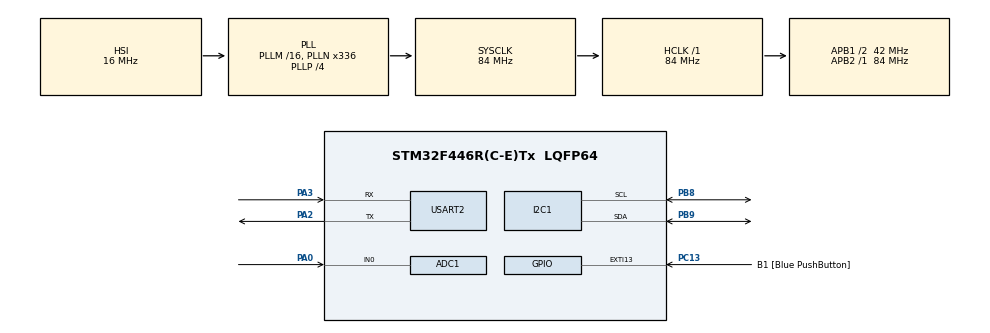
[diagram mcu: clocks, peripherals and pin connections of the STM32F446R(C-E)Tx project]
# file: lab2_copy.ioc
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ADC1.Channel-1\#ChannelRegularConversion=ADC_CHANNEL_0
ADC1.NbrOfConversionFlag=1
ADC1.Rank-1\#ChannelRegularConversion=1
ADC1.SamplingTime-1\#ChannelRegularConversion=ADC_SAMPLETIME_3CYCLES
ADC1.master=1
FREERTOS.Tasks01=Task1,24,128,StartTask1,Default,NULL,Dynamic,NULL,NULL;Task2,40,128,StartTask2,Default,NULL,Dynamic,NULL,NULL
FREERTOS.configUSE_NEWLIB_REENTRANT=1
I2C1.I2C_Mode=I2C_Fast
Mcu.Family=STM32F4
Mcu.Name=STM32F446R(C-E)Tx
Mcu.Package=LQFP64
NVIC.PriorityGroup=NVIC_PRIORITYGROUP_4
NVIC.TIM5_IRQn=true\:15\:0\:false\:false\:true\:false\:false\:true\:true
NVIC.TimeBase=TIM5_IRQn
NVIC.TimeBaseIP=TIM5
PA0-WKUP.Signal=ADCx_IN0
PA13.Signal=SYS_JTMS-SWDIO
PA14.Signal=SYS_JTCK-SWCLK
PA2.Mode=Asynchronous
PA2.Signal=USART2_TX
PA3.Mode=Asynchronous
PA3.Signal=USART2_RX
PB3.Signal=SYS_JTDO-SWO
PB8.Mode=I2C
PB8.Signal=I2C1_SCL
PB9.Mode=I2C
PB9.Signal=I2C1_SDA
PC13.GPIO_Label=B1 [Blue PushButton]
PC13.GPIO_ModeDefaultEXTI=GPIO_MODE_IT_FALLING
PC13.Signal=GPXTI13
PC14-OSC32_IN.Mode=LSE-External-Oscillator
PC14-OSC32_IN.Signal=RCC_OSC32_IN
PC15-OSC32_OUT.Mode=LSE-External-Oscillator
PC15-OSC32_OUT.Signal=RCC_OSC32_OUT
PH0-OSC_IN.Mode=HSE-External-Clock-Source
PH0-OSC_IN.Signal=RCC_OSC_IN
PH1-OSC_OUT.Mode=HSE-External-Clock-Source
PH1-OSC_OUT.Signal=RCC_OSC_OUT
ProjectManager.HeapSize=0x200
ProjectManager.StackSize=0x400
ProjectManager.TargetToolchain=STM32CubeIDE
RCC.48MHZClocksFreq_Value=84000000
RCC.AHBFreq_Value=84000000
RCC.APB1CLKDivider=RCC_HCLK_DIV2
RCC.APB1Freq_Value=42000000
RCC.APB1TimFreq_Value=84000000
RCC.APB2Freq_Value=84000000
RCC.APB2TimFreq_Value=84000000
RCC.CortexFreq_Value=84000000
RCC.FLatency-AdvancedSettings=FLASH_LATENCY_2
RCC.HCLKFreq_Value=84000000
RCC.HSE_VALUE=8000000
RCC.HSI_VALUE=16000000
RCC.PLLN=336
RCC.PLLP=RCC_PLLP_DIV4
RCC.SYSCLKFreq_VALUE=84000000
RCC.SYSCLKSource=RCC_SYSCLKSOURCE_PLLCLK
RCC.USBFreq_Value=168000000
RCC.VCOOutputFreq_Value=336000000
SH.ADCx_IN0.0=ADC1_IN0,IN0
USART2.VirtualMode=VM_ASYNC
VP_FREERTOS_VS_CMSIS_V2.Mode=CMSIS_V2
VP_SYS_VS_tim5.Mode=TIM5
board=NUCLEO-F446RE

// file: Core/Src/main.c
/* USER CODE BEGIN Header */
/**
 ******************************************************************************
 * @file           : main.c
 * @brief          : Main program body
 ******************************************************************************
 * @attention
 *
 * Copyright (c) 2025 STMicroelectronics.
 * All rights reserved.
 *
 * This software is licensed under terms that can be found in the LICENSE file
 * in the root directory of this software component.
 * If no LICENSE file comes with this software, it is provided AS-IS.
 *
 ******************************************************************************
 */
/* USER CODE END Header */
#include "main.h"
#include "cmsis_os.h"

/* USER CODE BEGIN Includes */
#include "stdio.h"
#include "string.h"
#include "fonts.h"
#include "ssd1306.h"
/* USER CODE END Includes */

ADC_HandleTypeDef hadc1;

I2C_HandleTypeDef hi2c1;

UART_HandleTypeDef huart2;

/* Definitions for Task1 */
osThreadId_t Task1Handle;
const osThreadAttr_t Task1_attributes = {
  .name = "Task1",
  .stack_size = 128 * 4,
  .priority = (osPriority_t) osPriorityNormal,
};
/* Definitions for Task2 */
osThreadId_t Task2Handle;
const osThreadAttr_t Task2_attributes = {
  .name = "Task2",
  .stack_size = 128 * 4,
  .priority = (osPriority_t) osPriorityHigh,
};
/* USER CODE BEGIN PV */

float voltage = 1.2;

/* USER CODE END PV */

void SystemClock_Config(void);
static void MX_GPIO_Init(void);
static void MX_ADC1_Init(void);
static void MX_USART2_UART_Init(void);
static void MX_I2C1_Init(void);
void StartTask1(void *argument);
void StartTask2(void *argument);

/* USER CODE BEGIN 0 */

int uart2_write(int ch) {
	/*Make sure the transmit data register is empty*/
	while (!(USART2->SR & USART_SR_TXE)) {
	}

	/*Write to transmit data register*/
	USART2->DR = (ch & 0xFF);
	return ch;
}

int __io_putchar(int ch) {
	uart2_write(ch);
	return ch;
}

/* USER CODE END 0 */

int main(void)
{

  /* USER CODE BEGIN 1 */
	char msg[100];
  /* USER CODE END 1 */

  /* MCU Configuration--------------------------------------------------------*/

  /* Reset of all peripherals, Initializes the Flash interface and the Systick. */
  HAL_Init();

  /* Configure the system clock */
  SystemClock_Config();

  /* Initialize all configured peripherals */
  MX_GPIO_Init();
  MX_ADC1_Init();
  MX_USART2_UART_Init();
  MX_I2C1_Init();
  /* USER CODE BEGIN 2 */

	HAL_ADC_Start(&hadc1);

  /* USER CODE END 2 */

  /* Init scheduler */
  osKernelInitialize();

  /* Create the thread(s) */
  /* creation of Task1 */
  Task1Handle = osThreadNew(StartTask1, NULL, &Task1_attributes);

  /* creation of Task2 */
  Task2Handle = osThreadNew(StartTask2, NULL, &Task2_attributes);

  /* Start scheduler */
  osKernelStart();

  /* We should never get here as control is now taken by the scheduler */

  /* Infinite loop */
	while (1) {

	}
}

void SystemClock_Config(void)
{
  RCC_OscInitTypeDef RCC_OscInitStruct = {0};
  RCC_ClkInitTypeDef RCC_ClkInitStruct = {0};

  /** Configure the main internal regulator output voltage
  */
  __HAL_RCC_PWR_CLK_ENABLE();
  __HAL_PWR_VOLTAGESCALING_CONFIG(PWR_REGULATOR_VOLTAGE_SCALE3);

  /** Initializes the RCC Oscillators according to the specified parameters
  * in the RCC_OscInitTypeDef structure.
  */
  RCC_OscInitStruct.OscillatorType = RCC_OSCILLATORTYPE_HSI;
  RCC_OscInitStruct.HSIState = RCC_HSI_ON;
  RCC_OscInitStruct.HSICalibrationValue = RCC_HSICALIBRATION_DEFAULT;
  RCC_OscInitStruct.PLL.PLLState = RCC_PLL_ON;
  RCC_OscInitStruct.PLL.PLLSource = RCC_PLLSOURCE_HSI;
  RCC_OscInitStruct.PLL.PLLM = 16;
  RCC_OscInitStruct.PLL.PLLN = 336;
  RCC_OscInitStruct.PLL.PLLP = RCC_PLLP_DIV4;
  RCC_OscInitStruct.PLL.PLLQ = 2;
  RCC_OscInitStruct.PLL.PLLR = 2;
  if (HAL_RCC_OscConfig(&RCC_OscInitStruct) != HAL_OK)
  {
    Error_Handler();
  }

  /** Initializes the CPU, AHB and APB buses clocks
  */
  RCC_ClkInitStruct.ClockType = RCC_CLOCKTYPE_HCLK|RCC_CLOCKTYPE_SYSCLK
                              |RCC_CLOCKTYPE_PCLK1|RCC_CLOCKTYPE_PCLK2;
  RCC_ClkInitStruct.SYSCLKSource = RCC_SYSCLKSOURCE_PLLCLK;
  RCC_ClkInitStruct.AHBCLKDivider = RCC_SYSCLK_DIV1;
  RCC_ClkInitStruct.APB1CLKDivider = RCC_HCLK_DIV2;
  RCC_ClkInitStruct.APB2CLKDivider = RCC_HCLK_DIV1;

  if (HAL_RCC_ClockConfig(&RCC_ClkInitStruct, FLASH_LATENCY_2) != HAL_OK)
  {
    Error_Handler();
  }
}

static void MX_ADC1_Init(void)
{

  ADC_ChannelConfTypeDef sConfig = {0};

  /** Configure the global features of the ADC (Clock, Resolution, Data Alignment and number of conversion)
  */
  hadc1.Instance = ADC1;
  hadc1.Init.ClockPrescaler = ADC_CLOCK_SYNC_PCLK_DIV4;
  hadc1.Init.Resolution = ADC_RESOLUTION_12B;
  hadc1.Init.ScanConvMode = DISABLE;
  hadc1.Init.ContinuousConvMode = DISABLE;
  hadc1.Init.DiscontinuousConvMode = DISABLE;
  hadc1.Init.ExternalTrigConvEdge = ADC_EXTERNALTRIGCONVEDGE_NONE;
  hadc1.Init.ExternalTrigConv = ADC_SOFTWARE_START;
  hadc1.Init.DataAlign = ADC_DATAALIGN_RIGHT;
  hadc1.Init.NbrOfConversion = 1;
  hadc1.Init.DMAContinuousRequests = DISABLE;
  hadc1.Init.EOCSelection = ADC_EOC_SINGLE_CONV;
  if (HAL_ADC_Init(&hadc1) != HAL_OK)
  {
    Error_Handler();
  }

  /** Configure for the selected ADC regular channel its corresponding rank in the sequencer and its sample time.
  */
  sConfig.Channel = ADC_CHANNEL_0;
  sConfig.Rank = 1;
  sConfig.SamplingTime = ADC_SAMPLETIME_3CYCLES;
  if (HAL_ADC_ConfigChannel(&hadc1, &sConfig) != HAL_OK)
  {
    Error_Handler();
  }

}

static void MX_I2C1_Init(void)
{

  hi2c1.Instance = I2C1;
  hi2c1.Init.ClockSpeed = 400000;
  hi2c1.Init.DutyCycle = I2C_DUTYCYCLE_2;
  hi2c1.Init.OwnAddress1 = 0;
  hi2c1.Init.AddressingMode = I2C_ADDRESSINGMODE_7BIT;
  hi2c1.Init.DualAddressMode = I2C_DUALADDRESS_DISABLE;
  hi2c1.Init.OwnAddress2 = 0;
  hi2c1.Init.GeneralCallMode = I2C_GENERALCALL_DISABLE;
  hi2c1.Init.NoStretchMode = I2C_NOSTRETCH_DISABLE;
  if (HAL_I2C_Init(&hi2c1) != HAL_OK)
  {
    Error_Handler();
  }

}

static void MX_USART2_UART_Init(void)
{

  huart2.Instance = USART2;
  huart2.Init.BaudRate = 115200;
  huart2.Init.WordLength = UART_WORDLENGTH_8B;
  huart2.Init.StopBits = UART_STOPBITS_1;
  huart2.Init.Parity = UART_PARITY_NONE;
  huart2.Init.Mode = UART_MODE_TX_RX;
  huart2.Init.HwFlowCtl = UART_HWCONTROL_NONE;
  huart2.Init.OverSampling = UART_OVERSAMPLING_16;
  if (HAL_UART_Init(&huart2) != HAL_OK)
  {
    Error_Handler();
  }

}

static void MX_GPIO_Init(void)
{
  GPIO_InitTypeDef GPIO_InitStruct = {0};

  /* GPIO Ports Clock Enable */
  __HAL_RCC_GPIOC_CLK_ENABLE();
  __HAL_RCC_GPIOH_CLK_ENABLE();
  __HAL_RCC_GPIOA_CLK_ENABLE();
  __HAL_RCC_GPIOB_CLK_ENABLE();

  /*Configure GPIO pin : B1_Pin */
  GPIO_InitStruct.Pin = B1_Pin;
  GPIO_InitStruct.Mode = GPIO_MODE_IT_FALLING;
  GPIO_InitStruct.Pull = GPIO_NOPULL;
  HAL_GPIO_Init(B1_GPIO_Port, &GPIO_InitStruct);

}

void StartTask1(void *argument)
{
  /* USER CODE BEGIN 5 */

	// Raw sensor value from potentiometer
	uint32_t adcValue = 0;

	// Converted voltage
	//float voltage = 0.0;

	// Store the string value of the voltage
	char msg[100];

	/* Infinite loop */
	for (;;) {

		/*1. Start ADC */
		HAL_ADC_Start(&hadc1);

		/*2. Poll for conversion */
		HAL_ADC_PollForConversion(&hadc1, 1);

		/*3. Get conversion */
		adcValue = HAL_ADC_GetValue(&hadc1);
		voltage = (float) (adcValue / 4095.0) * 3.3;

		// Debug: Print voltage to UART before sending to queue
		sprintf(msg, "Task1 - Sending Voltage: %.2fV\r\n", voltage);
		HAL_UART_Transmit(&huart2, (uint8_t*) msg, strlen(msg), HAL_MAX_DELAY);

//		if (osMessageQueueGetSpace(voltageQueue) > 0) {
//			osMessageQueuePut(voltageQueue, &voltage, 0, 0);
//		} else {
//			printf("Task1 - Queue full, skipping data!\r\n");
//		}

	}
  /* USER CODE END 5 */
}

void StartTask2(void *argument)
{
  /* USER CODE BEGIN StartTask2 */
	SSD1306_Init();

	HAL_UART_Transmit(&huart2, (uint8_t*) "Task2 Started\r\n", 15,
	HAL_MAX_DELAY);

	// Store the string value of the voltage
	char msg[100];

	char snum[5];

	/* USER CODE END 2 */

	/* Infinite loop */
	/* USER CODE BEGIN WHILE */
	while (1) {
		// Get a Message from voltageQueue
		// Attempt to receive a message from the queue with a short timeout (for non-blocking behavior)
		// Non-blocking with 0 timeout
		//osStatus_t status = osMessageQueueGet(voltageQueue, &voltage, NULL, 50);

		//if (status == osOK) {
		// DEBUG
		// Print to serial

		sprintf(msg, "Task2 - Received Voltage: %.2f", voltage);
		HAL_UART_Transmit(&huart2, (uint8_t*) msg, strlen(msg),
		HAL_MAX_DELAY);
//		} else {
//			HAL_UART_Transmit(&huart2, (uint8_t*) "Task2 - No new data\r\n", 27,
//			HAL_MAX_DELAY);
//		}

		// Convert float to string
		//itoa(voltage, snum, 10);

		sprintf(snum, "%.2f", voltage);

		SSD1306_GotoXY(0, 0);
		SSD1306_Puts("Voltage: ", &Font_11x18, 1);
		SSD1306_GotoXY(0, 30);
		SSD1306_UpdateScreen();
		SSD1306_Puts(snum, &Font_11x18, 1);

	}
  /* USER CODE END StartTask2 */
}

void HAL_TIM_PeriodElapsedCallback(TIM_HandleTypeDef *htim)
{
  if (htim->Instance == TIM5) {
    HAL_IncTick();
  }
}

void Error_Handler(void)
{
	__disable_irq();
	while (1) {
	}
}
